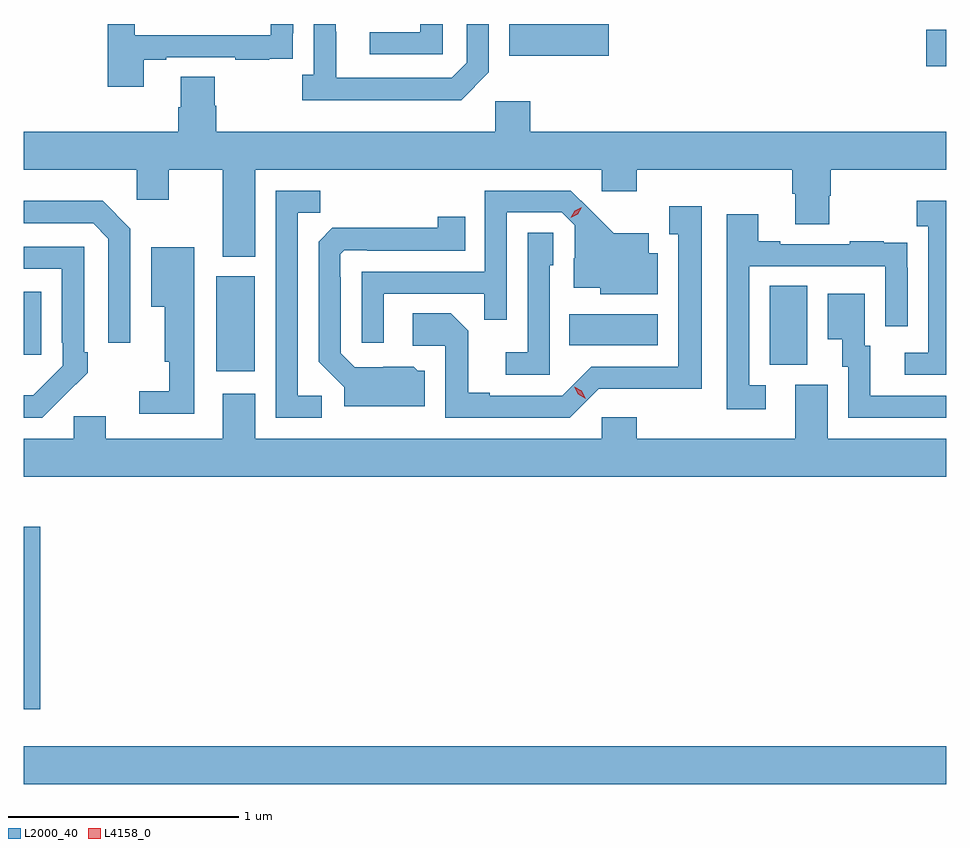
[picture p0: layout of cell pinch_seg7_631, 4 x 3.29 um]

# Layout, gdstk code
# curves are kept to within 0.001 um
import gdstk
lib = gdstk.Library(unit=1e-6, precision=1e-09)
def R(c, l, rs):  # rectangles x0, y0, x1, y1
    for r in rs: c.add(gdstk.rectangle(r[:2], r[2:], *l))
def P(c, l, *ps):  # polygons
    for p in ps: c.add(gdstk.Polygon(p, *l))
L2000_40 = (2000, 40)
L4158_0 = (4158, 0)

pinch_seg7_631 = lib.new_cell('pinch_seg7_631')
R(pinch_seg7_631, L2000_40, [(134.558,1007.276,138.558,1007.44), (134.558,1007.601,134.629,1008.392), (135.392,1009.065,135.559,1009.477), (137.792,1009.093,137.956,1009.436), (134.558,1009.137,134.635,1009.411), (136.924,1009.178,137.308,1009.312), (138.471,1010.387,138.558,1010.545), (136.664,1010.434,137.095,1010.571)])
P(pinch_seg7_631, L2000_40, [(136.374,1010.571),(136.278,1010.571),(136.278,1010.535),(136.059,1010.535),(136.059,1010.439),(136.374,1010.439)],
  [(136.575,1010.361),(136.575,1010.571),(136.479,1010.571),(136.479,1010.403),(136.413,1010.337),(135.913,1010.337),(135.912,1010.571),(135.816,1010.571),(135.816,1010.35),(135.765,1010.35),(135.765,1010.24),(136.454,1010.24)],
  [(135.079,1010.415),(135.175,1010.415),(135.175,1010.427),(135.475,1010.427),(135.475,1010.415),(135.623,1010.415),(135.623,1010.421),(135.725,1010.421),(135.725,1010.53),(135.726,1010.53),(135.726,1010.571),(135.63,1010.571),(135.63,1010.523),(135.039,1010.523),(135.039,1010.571),(134.923,1010.571),(134.923,1010.298),(135.079,1010.298)],
  [(135.562,1009.94),(137.064,1009.94),(137.064,1009.845),(137.216,1009.845),(137.216,1009.94),(137.891,1009.94),(137.891,1009.834),(137.903,1009.834),(137.903,1009.702),(138.051,1009.702),(138.051,1009.827),(138.056,1009.827),(138.056,1009.94),(138.558,1009.94),(138.558,1010.104),(136.754,1010.104),(136.754,1010.236),(136.602,1010.236),(136.602,1010.104),(135.392,1010.104),(135.392,1010.217),(135.387,1010.217),(135.387,1010.342),(135.239,1010.342),(135.239,1010.21),(135.227,1010.21),(135.227,1010.104),(134.558,1010.104),(134.558,1009.94),(135.048,1009.94),(135.048,1009.809),(135.187,1009.809),(135.187,1009.94),(135.422,1009.94),(135.422,1009.562),(135.562,1009.562)],
  [(135.85,1008.96),(135.747,1008.96),(135.747,1009.753),(135.843,1009.753),(135.843,1009.848),(135.651,1009.848),(135.651,1008.864),(135.85,1008.864)],
  [(136.119,1009.401),(136.555,1009.401),(136.555,1009.288),(136.653,1009.288),(136.653,1009.755),(136.89,1009.755),(136.947,1009.698),(136.947,1009.556),(136.943,1009.556),(136.943,1009.427),(137.058,1009.427),(137.058,1009.4),(137.308,1009.4),(137.308,1009.576),(137.269,1009.576),(137.269,1009.663),(137.117,1009.663),(136.93,1009.848),(136.557,1009.848),(136.557,1009.497),(136.023,1009.497),(136.023,1009.188),(136.119,1009.188)],
  [(138.558,1009.804),(138.429,1009.804),(138.429,1009.694),(138.48,1009.694),(138.48,1009.146),(138.378,1009.146),(138.378,1009.05),(138.558,1009.05)],
  [(135.021,1009.683),(134.9,1009.804),(134.558,1009.804),(134.558,1009.707),(134.859,1009.707),(134.925,1009.641),(134.925,1009.188),(135.021,1009.188)],
  [(137.052,1008.99),(137.497,1008.989),(137.497,1009.78),(137.357,1009.78),(137.357,1009.659),(137.396,1009.659),(137.396,1009.086),(137.019,1009.086),(136.893,1008.96),(136.579,1008.96),(136.579,1008.973),(136.485,1008.973),(136.485,1009.24),(136.409,1009.316),(136.245,1009.316),(136.245,1009.176),(136.386,1009.176),(136.386,1008.864),(136.926,1008.864)],
  [(137.776,1009.005),(137.703,1009.005),(137.703,1009.521),(138.294,1009.521),(138.294,1009.26),(138.39,1009.26),(138.39,1009.514),(138.389,1009.514),(138.389,1009.623),(138.287,1009.623),(138.287,1009.63),(138.139,1009.63),(138.139,1009.617),(137.839,1009.617),(137.839,1009.63),(137.743,1009.63),(137.743,1009.747),(137.607,1009.747),(137.607,1008.9),(137.776,1008.9)],
  [(136.297,1009.068),(136.266,1009.068),(136.25,1009.084),(135.993,1009.083),(135.933,1009.143),(135.933,1009.472),(135.93,1009.472),(135.93,1009.572),(135.948,1009.59),(136.048,1009.59),(136.048,1009.587),(136.472,1009.587),(136.472,1009.735),(136.354,1009.735),(136.354,1009.688),(135.896,1009.687),(135.837,1009.628),(135.837,1009.106),(135.947,1008.996),(135.947,1008.914),(136.297,1008.914)],
  [(136.839,1009.524),(136.854,1009.524),(136.854,1009.667),(136.743,1009.667),(136.743,1009.147),(136.647,1009.147),(136.647,1009.05),(136.839,1009.05)],
  [(134.729,1008.955),(134.73,1008.954),(134.835,1009.059),(134.835,1009.147),(134.82,1009.147),(134.82,1009.605),(134.558,1009.605),(134.558,1009.509),(134.724,1009.509),(134.724,1009.189),(134.727,1009.189),(134.727,1009.089),(134.599,1008.961),(134.558,1008.961),(134.558,1008.864),(134.638,1008.864)],
  [(135.297,1009.21),(135.298,1009.21),(135.298,1009.603),(135.11,1009.603),(135.11,1009.346),(135.17,1009.346),(135.17,1009.106),(135.189,1009.106),(135.189,1008.978),(135.06,1008.978),(135.06,1008.882),(135.297,1008.882)],
  [(138.558,1008.96),(138.229,1008.96),(138.229,1009.176),(138.205,1009.176),(138.205,1009.402),(138.044,1009.402),(138.044,1009.205),(138.107,1009.205),(138.107,1009.086),(138.132,1009.086),(138.132,1008.864),(138.558,1008.864)],
  [(138.558,1008.772),(138.043,1008.772),(138.043,1009.008),(137.903,1009.008),(137.903,1008.772),(137.216,1008.772),(137.216,1008.865),(137.064,1008.865),(137.064,1008.772),(135.562,1008.772),(135.562,1008.967),(135.422,1008.967),(135.422,1008.772),(134.914,1008.772),(134.914,1008.87),(134.775,1008.87),(134.775,1008.772),(134.558,1008.772),(134.558,1008.608),(138.558,1008.608)])
P(pinch_seg7_631, L4158_0, [(136.994,1008.947),(136.962,1008.966),(136.945,1008.999),(136.945,1008.999),(136.946,1008.999),(136.977,1008.98),(136.994,1008.947),(136.994,1008.947)],
  [(136.93,1009.732),(136.93,1009.732),(136.947,1009.762),(136.978,1009.777),(136.978,1009.777),(136.978,1009.776),(136.961,1009.747),(136.93,1009.732)])

lib.write_gds('pinch_seg7_631.gds')
